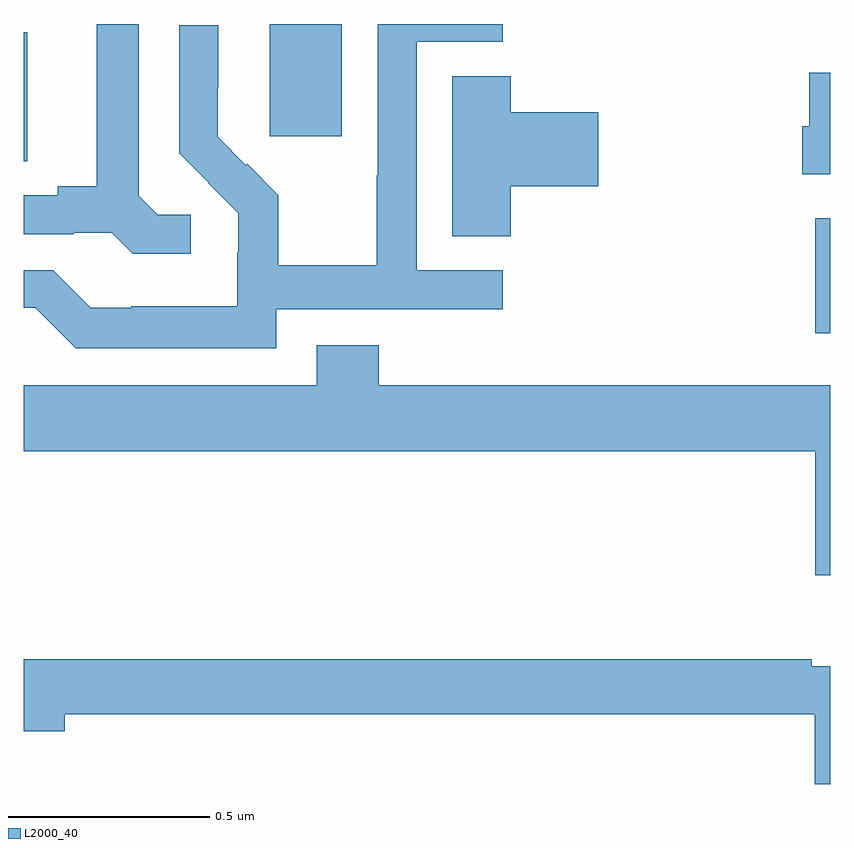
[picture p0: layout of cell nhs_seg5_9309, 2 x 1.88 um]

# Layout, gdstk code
import gdstk
lib = gdstk.Library(unit=1e-6, precision=1e-09)
def R(c, l, rs):  # rectangles x0, y0, x1, y1
    for r in rs: c.add(gdstk.rectangle(r[:2], r[2:], *l))
def P(c, l, *ps):  # polygons
    for p in ps: c.add(gdstk.Polygon(p, *l))
L2000_40 = (2000, 40)

nhs_seg5_9309 = lib.new_cell('nhs_seg5_9309')
R(nhs_seg5_9309, L2000_40, [(233.963,877.032,234,877.318), (232,877.459,232.009,877.779), (232.61,877.521,232.789,877.799)])
P(nhs_seg5_9309, L2000_40, [(232.626,877.092),(233.188,877.092),(233.188,877.188),(232.974,877.188),(232.974,877.755),(233.188,877.755),(233.188,877.799),(232.878,877.799),(232.878,877.424),(232.876,877.424),(232.876,877.201),(232.631,877.201),(232.631,877.375),(232.554,877.452),(232.551,877.449),(232.481,877.52),(232.481,877.642),(232.482,877.642),(232.482,877.796),(232.386,877.796),(232.386,877.478),(232.459,877.405),(232.458,877.404),(232.532,877.33),(232.532,877.233),(232.53,877.233),(232.53,877.099),(232.267,877.099),(232.267,877.095),(232.167,877.095),(232.074,877.188),(232,877.188),(232,877.095),(232.029,877.095),(232.129,876.995),(232.626,876.995)],
  [(232.414,877.326),(232.332,877.326),(232.285,877.373),(232.285,877.799),(232.181,877.799),(232.181,877.397),(232.085,877.397),(232.085,877.374),(232,877.374),(232,877.278),(232.124,877.278),(232.124,877.281),(232.218,877.281),(232.27,877.229),(232.414,877.229)],
  [(234,877.678),(233.948,877.678),(233.948,877.545),(233.93,877.545),(233.93,877.427),(234,877.427)],
  [(233.207,877.397),(233.425,877.397),(233.425,877.58),(233.207,877.58),(233.207,877.67),(233.063,877.67),(233.063,877.273),(233.207,877.273)],
  [(234,876.904),(232.88,876.904),(232.88,877.003),(232.727,877.003),(232.727,876.904),(232,876.904),(232,876.74),(233.963,876.74),(233.963,876.432),(234,876.432)],
  [(234,876.207),(233.954,876.207),(233.954,876.224),(232,876.224),(232,876.046),(232.102,876.046),(232.102,876.088),(233.961,876.088),(233.961,875.915),(234,875.915)])

lib.write_gds('nhs_seg5_9309.gds')
